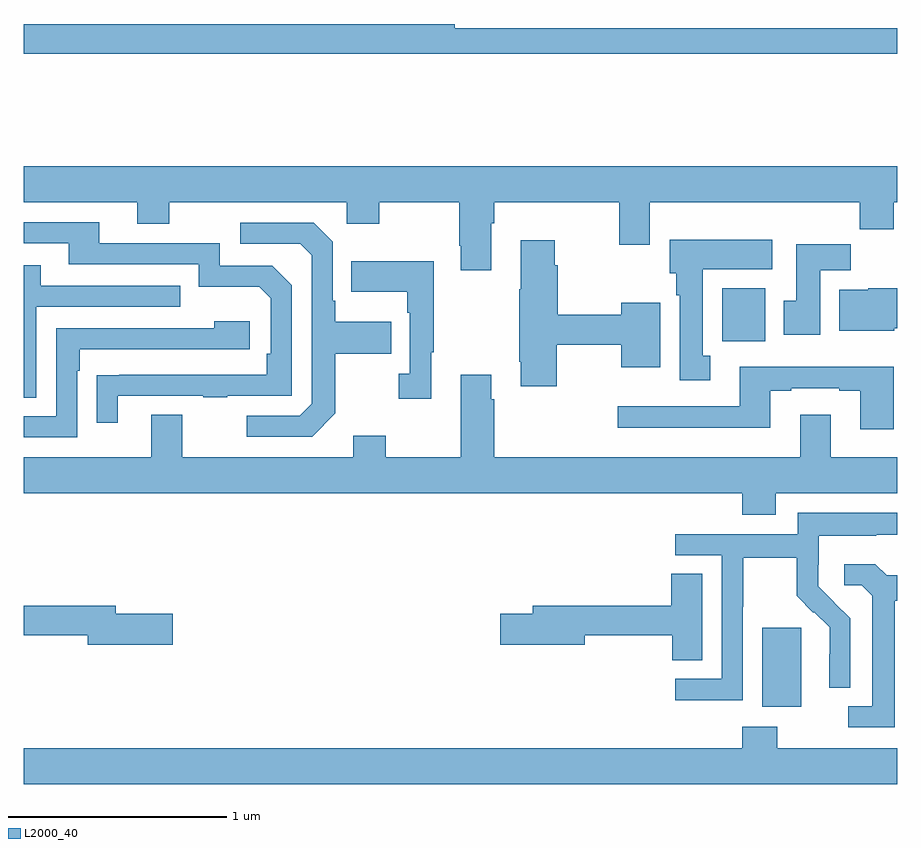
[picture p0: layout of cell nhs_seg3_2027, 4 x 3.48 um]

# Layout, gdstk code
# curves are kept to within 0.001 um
import gdstk
lib = gdstk.Library(unit=1e-6, precision=1e-09)
def R(c, l, rs):  # rectangles x0, y0, x1, y1
    for r in rs: c.add(gdstk.rectangle(r[:2], r[2:], *l))
def P(c, l, *ps):  # polygons
    for p in ps: c.add(gdstk.Polygon(p, *l))
L2000_40 = (2000, 40)

nhs_seg3_2027 = lib.new_cell('nhs_seg3_2027')
R(nhs_seg3_2027, L2000_40, [(218.381,713.258,218.56,713.619), (218.198,714.932,218.395,715.174)])
P(nhs_seg3_2027, L2000_40, [(219,716.364),(216.974,716.364),(216.974,716.384),(215,716.384),(215,716.248),(219,716.248)],
  [(217.141,715.472),(217.154,715.472),(217.154,715.568),(217.727,715.568),(217.727,715.374),(217.867,715.374),(217.867,715.568),(218.827,715.568),(218.827,715.444),(218.984,715.444),(218.984,715.568),(219,715.568),(219,715.732),(215,715.732),(215,715.568),(215.519,715.568),(215.519,715.469),(215.667,715.469),(215.667,715.568),(216.48,715.568),(216.48,715.469),(216.627,715.469),(216.627,715.568),(216.994,715.568),(216.994,715.369),(217.001,715.369),(217.001,715.257),(217.141,715.257)],
  [(215.431,714.681),(215.821,714.681),(215.821,714.676),(215.933,714.676),(215.933,714.681),(216.228,714.681),(216.228,715.188),(216.138,715.278),(215.898,715.278),(215.898,715.38),(215.347,715.38),(215.347,715.476),(215,715.476),(215,715.38),(215.207,715.38),(215.207,715.284),(215.802,715.284),(215.802,715.181),(216.079,715.181),(216.132,715.128),(216.132,714.874),(216.112,714.874),(216.112,714.777),(215.335,714.776),(215.335,714.558),(215.431,714.558)],
  [(216.427,714.601),(216.427,714.874),(216.683,714.874),(216.683,715.021),(216.427,715.021),(216.427,715.117),(216.414,715.117),(216.414,715.386),(216.327,715.473),(215.991,715.473),(215.991,715.377),(216.267,715.377),(216.318,715.326),(216.318,714.645),(216.264,714.591),(216.021,714.591),(216.021,714.495),(216.321,714.495)],
  [(218.143,714.866),(218.11,714.866),(218.11,715.262),(218.428,715.262),(218.428,715.396),(217.958,715.396),(217.958,715.242),(217.988,715.242),(217.988,715.142),(218.003,715.142),(218.003,714.753),(218.143,714.753)],
  [(217.44,714.916),(217.736,714.916),(217.736,714.812),(217.915,714.812),(217.915,715.108),(217.736,715.108),(217.736,715.052),(217.445,715.052),(217.445,715.28),(217.432,715.28),(217.432,715.393),(217.277,715.393),(217.277,715.169),(217.27,715.169),(217.27,714.838),(217.277,714.838),(217.277,714.726),(217.44,714.726)],
  [(218.647,715.256),(218.786,715.256),(218.786,715.375),(218.537,715.375),(218.537,715.116),(218.48,715.116),(218.48,714.96),(218.647,714.96)],
  [(216.865,714.881),(216.877,714.881),(216.877,715.297),(216.499,715.297),(216.499,715.157),(216.756,715.157),(216.756,715.061),(216.768,715.061),(216.768,714.782),(216.717,714.782),(216.717,714.669),(216.865,714.669)],
  [(215.058,715.089),(215.717,715.089),(215.717,715.185),(215.077,715.185),(215.077,715.279),(215,715.279),(215,714.673),(215.058,714.673)],
  [(218.986,714.991),(219,714.991),(219,715.12),(218.999,715.12),(218.999,715.174),(218.868,715.174),(218.868,715.168),(218.735,715.168),(218.735,714.98),(218.986,714.98)],
  [(215.244,714.797),(215.257,714.797),(215.257,714.894),(216.034,714.894),(216.034,715.024),(215.873,715.024),(215.873,714.99),(215.148,714.99),(215.148,714.588),(215,714.588),(215,714.492),(215.244,714.492)],
  [(218.984,714.814),(218.279,714.814),(218.279,714.633),(217.719,714.633),(217.719,714.536),(218.419,714.536),(218.419,714.705),(218.515,714.705),(218.515,714.717),(218.735,714.717),(218.735,714.705),(218.831,714.705),(218.831,714.528),(218.984,714.528)],
  [(218.443,714.236),(219,714.236),(219,714.4),(218.695,714.4),(218.695,714.595),(218.555,714.595),(218.555,714.4),(217.154,714.4),(217.154,714.665),(217.141,714.665),(217.141,714.778),(217.001,714.778),(217.001,714.4),(216.657,714.4),(216.657,714.499),(216.509,714.499),(216.509,714.4),(215.725,714.4),(215.725,714.595),(215.585,714.595),(215.585,714.4),(215,714.4),(215,714.236),(218.291,714.236),(218.291,714.137),(218.443,714.137)],
  [(218.292,713.716),(218.295,713.716),(218.295,713.94),(218.539,713.94),(218.539,713.765),(218.616,713.688),(218.619,713.691),(218.69,713.621),(218.69,713.498),(218.688,713.498),(218.688,713.344),(218.784,713.344),(218.784,713.662),(218.638,713.81),(218.638,713.907),(218.64,713.907),(218.64,714.041),(218.903,714.041),(218.903,714.045),(219,714.045),(219,714.145),(218.544,714.145),(218.544,714.048),(217.983,714.048),(217.983,713.952),(218.196,713.952),(218.196,713.385),(217.983,713.385),(217.983,713.287),(218.292,713.287)],
  [(218.989,713.744),(219,713.744),(219,713.859),(218.952,713.859),(218.9,713.911),(218.757,713.911),(218.757,713.814),(218.838,713.814),(218.885,713.767),(218.885,713.259),(218.775,713.259),(218.775,713.163),(218.989,713.163)],
  [(218.107,713.867),(217.964,713.867),(217.964,713.72),(217.331,713.72),(217.331,713.684),(217.182,713.684),(217.182,713.542),(217.57,713.542),(217.57,713.584),(217.969,713.584),(217.969,713.47),(218.107,713.47)],
  [(215.683,713.684),(215.422,713.684),(215.422,713.72),(215,713.72),(215,713.584),(215.294,713.584),(215.294,713.542),(215.683,713.542)],
  [(219,713.068),(218.451,713.068),(218.451,713.167),(218.291,713.167),(218.291,713.068),(215,713.068),(215,712.904),(219,712.904)])

lib.write_gds('nhs_seg3_2027.gds')
